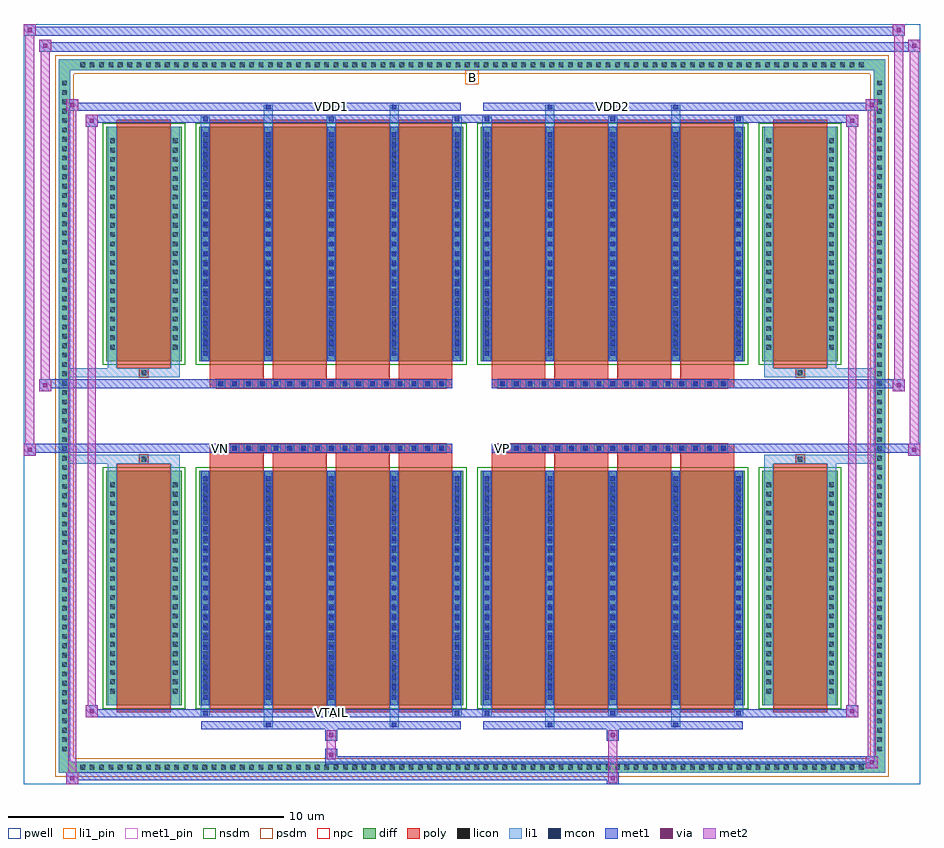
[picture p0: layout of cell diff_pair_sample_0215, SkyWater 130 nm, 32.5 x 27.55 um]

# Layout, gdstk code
import gdstk
lib = gdstk.Library(unit=1e-6, precision=5e-09)
def R(c, l, rs):  # rectangles x0, y0, x1, y1
    for r in rs: c.add(gdstk.rectangle(r[:2], r[2:], *l))
def A(c, l, x, y, w, h, nx, ny, dx, dy):  # array of equal rectangles
    R(c, l, [(x+i*dx, y+j*dy, x+i*dx+w, y+j*dy+h) for i in range(nx) for j in range(ny)])
def P(c, l, *ps):  # polygons
    for p in ps: c.add(gdstk.Polygon(p, *l))
pwell = (64, 44)
diff = (65, 20)
poly = (66, 20)
licon = (66, 44)
li1_pin = (67, 16)
li1 = (67, 20)
mcon = (67, 44)
met1_pin = (68, 16)
met1 = (68, 20)
via = (68, 44)
met2 = (69, 20)
nsdm = (93, 44)
psdm = (94, 20)
npc = (95, 20)

diff_pair_sample_0215 = lib.new_cell('diff_pair_sample_0215')
R(diff_pair_sample_0215, pwell, [(-16.25,-13.34,16.25,14.21), (-13.57,-11.53,-0.01,-0.805), (0.01,-11.53,13.57,-0.805), (-13.57,0.805,-0.01,11.53), (0.01,0.805,13.57,11.53)])
A(diff_pair_sample_0215, diff, -14.315, -12.94, 0.41, 0.41, 84, 2, 0.34, 25.47)
A(diff_pair_sample_0215, diff, -14.98, -12.275, 0.41, 0.41, 1, 72, 0, 0.34)
A(diff_pair_sample_0215, diff, 14.57, -12.275, 0.41, 0.41, 1, 72, 0, 0.34)
R(diff_pair_sample_0215, diff, [(-14.315,-12.94,14.315,-12.53), (-14.98,-12.275,-14.57,12.275), (14.57,-12.275,14.98,12.275), (-13.26,-10.485,-10.53,-1.985), (-9.89,-10.485,-0.32,-1.985), (0.32,-10.485,9.89,-1.985), (10.53,-10.485,13.26,-1.985), (-13.26,1.985,-10.53,10.485), (-9.89,1.985,-0.32,10.485), (0.32,1.985,9.89,10.485), (10.53,1.985,13.26,10.485), (-14.315,12.53,14.315,12.94)])
P(diff_pair_sample_0215, diff, [(14.98,12.94),(-14.98,12.94),(-14.98,-12.53),(-14.57,-12.53),(-14.57,12.53),(14.57,12.53),(14.57,-12.53),(-14.57,-12.53),(-14.98,-12.53),(-14.98,-12.94),(14.98,-12.94)])
A(diff_pair_sample_0215, poly, -9.5, -10.735, 1.95, 9, 4, 2, 2.28, 12.47)
A(diff_pair_sample_0215, poly, 0.71, -10.735, 1.95, 9, 4, 2, 2.28, 12.47)
A(diff_pair_sample_0215, poly, -9.5, -1.735, 1.95, 0.4, 4, 2, 2.28, 3.07)
A(diff_pair_sample_0215, poly, 0.71, -1.735, 1.95, 0.4, 4, 2, 2.28, 3.07)
A(diff_pair_sample_0215, poly, -9.27, -1.335, 0.33, 0.33, 17, 2, 0.5, 2.34)
A(diff_pair_sample_0215, poly, 0.94, -1.335, 0.33, 0.33, 17, 2, 0.5, 2.34)
R(diff_pair_sample_0215, poly, [(-12.87,-10.735,-10.92,-1.735), (10.92,-10.735,12.87,-1.735), (-12.06,-1.735,-11.73,-1.405), (-12.06,-1.735,-11.73,-1.405), (11.73,-1.735,12.06,-1.405), (11.73,-1.735,12.06,-1.405), (-9.5,-1.335,-0.71,-1.005), (0.71,-1.335,9.5,-1.005), (-9.5,1.005,-0.71,1.335), (0.71,1.005,9.5,1.335), (-12.06,1.405,-11.73,1.735), (-12.06,1.405,-11.73,1.735), (11.73,1.405,12.06,1.735), (11.73,1.405,12.06,1.735), (-12.87,1.735,-10.92,10.735), (10.92,1.735,12.87,10.735)])
A(diff_pair_sample_0215, licon, -14.195, -12.82, 0.17, 0.17, 84, 2, 0.34, 25.47)
A(diff_pair_sample_0215, licon, -14.86, -12.155, 0.17, 0.17, 1, 72, 0, 0.34)
A(diff_pair_sample_0215, licon, 14.69, -12.155, 0.17, 0.17, 1, 72, 0, 0.34)
A(diff_pair_sample_0215, licon, -13.12, -10.06, 0.17, 0.17, 1, 23, 0, 0.34)
A(diff_pair_sample_0215, licon, -10.84, -10.06, 0.17, 0.17, 1, 23, 0, 0.34)
A(diff_pair_sample_0215, licon, -9.75, -10.06, 0.17, 0.17, 5, 23, 2.28, 0.34)
A(diff_pair_sample_0215, licon, 0.46, -10.06, 0.17, 0.17, 5, 23, 2.28, 0.34)
A(diff_pair_sample_0215, licon, 10.67, -10.06, 0.17, 0.17, 1, 23, 0, 0.34)
A(diff_pair_sample_0215, licon, 12.95, -10.06, 0.17, 0.17, 1, 23, 0, 0.34)
A(diff_pair_sample_0215, licon, -9.19, -1.255, 0.17, 0.17, 17, 2, 0.5, 2.34)
A(diff_pair_sample_0215, licon, 1.02, -1.255, 0.17, 0.17, 17, 2, 0.5, 2.34)
A(diff_pair_sample_0215, licon, -13.12, 2.41, 0.17, 0.17, 1, 23, 0, 0.34)
A(diff_pair_sample_0215, licon, -10.84, 2.41, 0.17, 0.17, 1, 23, 0, 0.34)
A(diff_pair_sample_0215, licon, -9.75, 2.41, 0.17, 0.17, 5, 23, 2.28, 0.34)
A(diff_pair_sample_0215, licon, 0.46, 2.41, 0.17, 0.17, 5, 23, 2.28, 0.34)
A(diff_pair_sample_0215, licon, 10.67, 2.41, 0.17, 0.17, 1, 23, 0, 0.34)
A(diff_pair_sample_0215, licon, 12.95, 2.41, 0.17, 0.17, 1, 23, 0, 0.34)
R(diff_pair_sample_0215, licon, [(-11.98,-1.655,-11.81,-1.485), (11.81,-1.655,11.98,-1.485), (-11.98,1.485,-11.81,1.655), (11.81,1.485,11.98,1.655)])
R(diff_pair_sample_0215, li1_pin, [(-0.25,12.03,0.25,12.53)])
A(diff_pair_sample_0215, li1, -14.275, -12.9, 0.33, 0.33, 84, 2, 0.34, 25.47)
A(diff_pair_sample_0215, li1, -14.94, -12.235, 0.33, 0.33, 1, 72, 0, 0.34)
A(diff_pair_sample_0215, li1, 14.61, -12.235, 0.33, 0.33, 1, 72, 0, 0.34)
A(diff_pair_sample_0215, li1, -9.83, -10.86, 0.33, 0.375, 3, 2, 4.56, 21.345)
A(diff_pair_sample_0215, li1, -9.75, -10.86, 0.17, 0.17, 3, 2, 4.56, 21.55)
A(diff_pair_sample_0215, li1, 0.38, -10.86, 0.33, 0.375, 3, 2, 4.56, 21.345)
A(diff_pair_sample_0215, li1, 0.46, -10.86, 0.17, 0.17, 3, 2, 4.56, 21.55)
A(diff_pair_sample_0215, li1, -9.83, -10.485, 0.33, 8.5, 5, 2, 2.28, 12.47)
A(diff_pair_sample_0215, li1, 0.38, -10.485, 0.33, 8.5, 5, 2, 2.28, 12.47)
A(diff_pair_sample_0215, li1, -9.75, -10.28, 0.17, 0.17, 5, 23, 2.28, 0.36)
A(diff_pair_sample_0215, li1, -9.75, -10.28, 0.17, 8.09, 5, 2, 2.28, 12.47)
A(diff_pair_sample_0215, li1, 0.46, -10.28, 0.17, 0.17, 5, 23, 2.28, 0.36)
A(diff_pair_sample_0215, li1, 0.46, -10.28, 0.17, 8.09, 5, 2, 2.28, 12.47)
A(diff_pair_sample_0215, li1, -13.2, -10.14, 0.33, 0.33, 1, 23, 0, 0.34)
A(diff_pair_sample_0215, li1, -10.92, -10.14, 0.33, 0.33, 1, 23, 0, 0.34)
A(diff_pair_sample_0215, li1, -9.83, -10.14, 0.33, 0.33, 5, 23, 2.28, 0.34)
A(diff_pair_sample_0215, li1, 0.38, -10.14, 0.33, 0.33, 5, 23, 2.28, 0.34)
A(diff_pair_sample_0215, li1, 10.59, -10.14, 0.33, 0.33, 1, 23, 0, 0.34)
A(diff_pair_sample_0215, li1, 12.87, -10.14, 0.33, 0.33, 1, 23, 0, 0.34)
A(diff_pair_sample_0215, li1, -9.27, -1.335, 0.33, 0.33, 17, 2, 0.5, 2.34)
A(diff_pair_sample_0215, li1, 0.94, -1.335, 0.33, 0.33, 17, 2, 0.5, 2.34)
A(diff_pair_sample_0215, li1, -9.75, 2.19, 0.17, 0.17, 5, 23, 2.28, 0.36)
A(diff_pair_sample_0215, li1, 0.46, 2.19, 0.17, 0.17, 5, 23, 2.28, 0.36)
A(diff_pair_sample_0215, li1, -13.2, 2.33, 0.33, 0.33, 1, 23, 0, 0.34)
A(diff_pair_sample_0215, li1, -10.92, 2.33, 0.33, 0.33, 1, 23, 0, 0.34)
A(diff_pair_sample_0215, li1, -9.83, 2.33, 0.33, 0.33, 5, 23, 2.28, 0.34)
A(diff_pair_sample_0215, li1, 0.38, 2.33, 0.33, 0.33, 5, 23, 2.28, 0.34)
A(diff_pair_sample_0215, li1, 10.59, 2.33, 0.33, 0.33, 1, 23, 0, 0.34)
A(diff_pair_sample_0215, li1, 12.87, 2.33, 0.33, 0.33, 1, 23, 0, 0.34)
R(diff_pair_sample_0215, li1, [(-14.98,-12.94,-14.57,-12.53), (-14.98,-12.94,-14.57,-12.53), (-14.57,-12.94,14.57,-12.53), (14.57,-12.94,14.98,-12.53), (14.57,-12.94,14.98,-12.53), (-14.98,-12.53,-14.57,12.53), (14.57,-12.53,14.98,12.53), (-7.55,-11.29,-7.22,-10.485), (-7.47,-11.29,-7.3,-11.12), (-2.99,-11.29,-2.66,-10.485), (-2.91,-11.29,-2.74,-11.12), (2.66,-11.29,2.99,-10.485), (2.74,-11.29,2.91,-11.12), (7.22,-11.29,7.55,-10.485), (7.3,-11.29,7.47,-11.12), (-13.2,-10.485,-12.87,-1.985), (-10.92,-10.485,-10.59,-1.985), (10.59,-10.485,10.92,-1.985), (12.87,-10.485,13.2,-1.985), (-13.2,-1.985,-12.87,-1.405), (-10.92,-1.985,-10.59,-1.405), (10.59,-1.985,10.92,-1.405), (12.87,-1.985,13.2,-1.405), (-14.98,-1.735,-12.06,-1.405), (-13.2,-1.735,-12.06,-1.405), (-12.06,-1.735,-11.73,-1.405), (-11.73,-1.735,-10.59,-1.405), (10.59,-1.735,11.73,-1.405), (11.73,-1.735,12.06,-1.405), (11.73,-1.735,14.98,-1.405), (12.06,-1.735,13.2,-1.405), (-14.98,1.405,-12.06,1.735), (-13.2,1.405,-12.06,1.735), (-13.2,1.405,-12.87,1.985), (-12.06,1.405,-11.73,1.735), (-11.73,1.405,-10.59,1.735), (-10.92,1.405,-10.59,1.985), (10.59,1.405,11.73,1.735), (10.59,1.405,10.92,1.985), (11.73,1.405,12.06,1.735), (11.73,1.405,14.98,1.735), (12.06,1.405,13.2,1.735), (12.87,1.405,13.2,1.985), (-13.2,1.985,-12.87,10.485), (-10.92,1.985,-10.59,10.485), (10.59,1.985,10.92,10.485), (12.87,1.985,13.2,10.485), (-7.55,10.485,-7.22,11.29), (-2.99,10.485,-2.66,11.29), (2.66,10.485,2.99,11.29), (7.22,10.485,7.55,11.29), (-7.47,11.12,-7.3,11.29), (-2.91,11.12,-2.74,11.29), (2.74,11.12,2.91,11.29), (7.3,11.12,7.47,11.29), (-14.98,12.53,-14.57,12.94), (-14.98,12.53,-14.57,12.94), (-14.57,12.53,14.57,12.94), (14.57,12.53,14.98,12.94), (14.57,12.53,14.98,12.94)])
A(diff_pair_sample_0215, mcon, -9.75, -10.86, 0.17, 0.17, 3, 2, 4.56, 21.55)
A(diff_pair_sample_0215, mcon, 0.46, -10.86, 0.17, 0.17, 3, 2, 4.56, 21.55)
A(diff_pair_sample_0215, mcon, -9.75, -10.28, 0.17, 0.17, 5, 23, 2.28, 0.36)
A(diff_pair_sample_0215, mcon, 0.46, -10.28, 0.17, 0.17, 5, 23, 2.28, 0.36)
A(diff_pair_sample_0215, mcon, -9.19, -1.255, 0.17, 0.17, 17, 2, 0.5, 2.34)
A(diff_pair_sample_0215, mcon, 1.02, -1.255, 0.17, 0.17, 17, 2, 0.5, 2.34)
A(diff_pair_sample_0215, mcon, -9.75, 2.19, 0.17, 0.17, 5, 23, 2.28, 0.36)
A(diff_pair_sample_0215, mcon, 0.46, 2.19, 0.17, 0.17, 5, 23, 2.28, 0.36)
R(diff_pair_sample_0215, mcon, [(-7.47,-11.29,-7.3,-11.12), (-2.91,-11.29,-2.74,-11.12), (2.74,-11.29,2.91,-11.12), (7.3,-11.29,7.47,-11.12), (-7.47,11.12,-7.3,11.29), (-2.91,11.12,-2.74,11.29), (2.74,11.12,2.91,11.29), (7.3,11.12,7.47,11.29)])
R(diff_pair_sample_0215, met1_pin, [(-5.24,-10.9,-4.97,-10.63), (-9.24,-1.295,-8.97,-1.025), (0.97,-1.295,1.24,-1.025), (-5.24,11.08,-4.97,11.35), (4.97,11.08,5.24,11.35)])
A(diff_pair_sample_0215, met1, -9.81, -10.92, 0.29, 0.29, 3, 2, 4.56, 21.55)
A(diff_pair_sample_0215, met1, 0.4, -10.92, 0.29, 0.29, 3, 2, 4.56, 21.55)
A(diff_pair_sample_0215, met1, -9.81, -10.485, 0.29, 8.5, 5, 2, 2.28, 12.47)
A(diff_pair_sample_0215, met1, 0.4, -10.485, 0.29, 8.5, 5, 2, 2.28, 12.47)
A(diff_pair_sample_0215, met1, -9.81, -10.34, 0.29, 0.29, 5, 23, 2.28, 0.36)
A(diff_pair_sample_0215, met1, 0.4, -10.34, 0.29, 0.29, 5, 23, 2.28, 0.36)
A(diff_pair_sample_0215, met1, -9.25, -1.315, 0.29, 0.29, 17, 2, 0.5, 2.34)
A(diff_pair_sample_0215, met1, 0.96, -1.315, 0.29, 0.29, 17, 2, 0.5, 2.34)
A(diff_pair_sample_0215, met1, -9.81, 2.13, 0.29, 0.29, 5, 23, 2.28, 0.36)
A(diff_pair_sample_0215, met1, 0.4, 2.13, 0.29, 0.29, 5, 23, 2.28, 0.36)
R(diff_pair_sample_0215, met1, [(-14.71,-13.34,-14.28,-12.91), (4.89,-13.34,5.32,-12.91), (-14.71,-13.2,5.32,-12.91), (14.28,-12.77,14.71,-12.34), (-5.32,-12.63,14.71,-12.34), (-5.32,-12.49,-4.89,-12.06), (-5.32,-11.78,-4.89,-11.35), (4.89,-11.78,5.32,-11.35), (-9.81,-11.35,-0.4,-11.06), (-7.53,-11.35,-7.24,-11.06), (-2.97,-11.35,-2.68,-11.06), (0.4,-11.35,9.81,-11.06), (2.68,-11.35,2.97,-11.06), (7.24,-11.35,7.53,-11.06), (-14,-10.92,-13.57,-10.49), (-14,-10.92,-9.81,-10.63), (-9.81,-10.92,-0.4,-10.63), (-0.4,-10.92,0.4,-10.63), (0.4,-10.92,9.81,-10.63), (9.81,-10.92,14,-10.63), (13.57,-10.92,14,-10.49), (-16.25,-1.435,-15.82,-1.005), (15.82,-1.435,16.25,-1.005), (-16.25,-1.335,-0.71,-1.005), (-9.5,-1.335,-0.71,-1.005), (0.71,-1.335,9.5,-1.005), (0.71,-1.335,16.25,-1.005), (-15.68,0.905,-15.25,1.335), (15.25,0.905,15.68,1.335), (-15.68,1.005,-9.5,1.335), (-9.5,1.005,-0.71,1.335), (0.71,1.005,9.5,1.335), (9.5,1.005,15.68,1.335), (-14,10.49,-13.57,10.92), (13.57,10.49,14,10.92), (-14,10.63,-9.81,10.92), (-9.81,10.63,-0.4,10.92), (-0.4,10.63,0.4,10.92), (0.4,10.63,9.81,10.92), (9.81,10.63,14,10.92), (-14.71,11.06,-14.28,11.49), (-14.71,11.06,-9.81,11.35), (-9.81,11.06,-0.4,11.35), (-7.53,11.06,-7.24,11.35), (-2.97,11.06,-2.68,11.35), (0.4,11.06,9.81,11.35), (2.68,11.06,2.97,11.35), (7.24,11.06,7.53,11.35), (9.81,11.06,14.71,11.35), (14.28,11.06,14.71,11.49), (-15.68,13.21,-15.25,13.64), (-15.68,13.21,-13.57,13.54), (-13.57,13.21,13.57,13.54), (13.57,13.21,16.25,13.54), (15.82,13.21,16.25,13.64), (-16.25,13.78,-15.82,14.21), (-16.25,13.78,-13.57,14.11), (-13.57,13.78,13.57,14.11), (13.57,13.78,15.68,14.11), (15.25,13.78,15.68,14.21)])
R(diff_pair_sample_0215, via, [(-14.57,-13.2,-14.42,-13.05), (5.03,-13.2,5.18,-13.05), (14.42,-12.63,14.57,-12.48), (-5.18,-12.35,-5.03,-12.2), (-5.18,-11.64,-5.03,-11.49), (5.03,-11.64,5.18,-11.49), (-13.86,-10.78,-13.71,-10.63), (13.71,-10.78,13.86,-10.63), (-16.11,-1.295,-15.96,-1.145), (15.96,-1.295,16.11,-1.145), (-15.54,1.045,-15.39,1.195), (15.39,1.045,15.54,1.195), (-13.86,10.63,-13.71,10.78), (13.71,10.63,13.86,10.78), (-14.57,11.2,-14.42,11.35), (14.42,11.2,14.57,11.35), (-15.54,13.35,-15.39,13.5), (15.96,13.35,16.11,13.5), (-16.11,13.92,-15.96,14.07), (15.39,13.92,15.54,14.07)])
R(diff_pair_sample_0215, met2, [(-14.71,-13.34,-14.28,-12.91), (-14.64,-13.34,-14.35,11.49), (-14.35,-13.34,-14.28,-12.91), (-14.66,-13.29,-14.33,-12.96), (4.94,-13.29,5.27,-12.96), (4.94,-12.96,5.27,-11.73), (14.28,-12.77,14.71,-12.34), (14.35,-12.77,14.64,11.49), (14.64,-12.77,14.71,-12.34), (14.33,-12.72,14.66,-12.39), (-5.27,-12.44,-4.94,-12.11), (-5.27,-12.11,-4.94,-11.73), (-5.27,-11.73,-4.94,-11.4), (4.94,-11.73,5.27,-11.4), (-14,-10.92,-13.57,-10.49), (-13.93,-10.92,-13.64,10.92), (-13.64,-10.92,-13.57,-10.49), (13.57,-10.92,14,-10.49), (13.64,-10.92,13.93,10.92), (13.93,-10.92,14,-10.49), (-13.95,-10.87,-13.62,-10.54), (13.62,-10.87,13.95,-10.54), (-16.25,-1.435,-15.82,-1.005), (-16.2,-1.435,-15.87,14.21), (-15.87,-1.435,-15.82,-1.005), (15.82,-1.435,16.25,-1.005), (15.87,-1.435,16.2,13.64), (16.2,-1.435,16.25,-1.005), (-16.2,-1.385,-15.87,-1.055), (15.87,-1.385,16.2,-1.055), (-15.68,0.905,-15.25,1.335), (-15.63,0.905,-15.3,13.64), (-15.3,0.905,-15.25,1.335), (15.25,0.905,15.68,1.335), (15.3,0.905,15.63,14.21), (15.63,0.905,15.68,1.335), (-15.63,0.955,-15.3,1.285), (15.3,0.955,15.63,1.285), (-14,10.49,-13.57,10.92), (-13.64,10.49,-13.57,10.92), (13.57,10.49,14,10.92), (13.93,10.49,14,10.92), (-13.95,10.54,-13.62,10.87), (13.62,10.54,13.95,10.87), (-14.71,11.06,-14.28,11.49), (-14.35,11.06,-14.28,11.49), (14.28,11.06,14.71,11.49), (14.64,11.06,14.71,11.49), (-14.66,11.11,-14.33,11.44), (14.33,11.11,14.66,11.44), (-15.68,13.21,-15.25,13.64), (-15.3,13.21,-15.25,13.64), (15.82,13.21,16.25,13.64), (16.2,13.21,16.25,13.64), (-15.63,13.26,-15.3,13.59), (15.87,13.26,16.2,13.59), (-16.25,13.78,-15.82,14.21), (-15.87,13.78,-15.82,14.21), (15.25,13.78,15.68,14.21), (15.63,13.78,15.68,14.21), (-16.2,13.83,-15.87,14.16), (15.3,13.83,15.63,14.16)])
R(diff_pair_sample_0215, nsdm, [(-13.39,-10.615,-10.4,-1.855), (-10.02,-10.615,-0.19,-1.855), (0.19,-10.615,10.02,-1.855), (10.4,-10.615,13.39,-1.855), (-13.39,1.855,-10.4,10.615), (-10.02,1.855,-0.19,10.615), (0.19,1.855,10.02,10.615), (10.4,1.855,13.39,10.615)])
P(diff_pair_sample_0215, psdm, [(15.11,13.07),(-15.11,13.07),(-15.11,-12.4),(-14.44,-12.4),(-14.44,12.4),(14.44,12.4),(14.44,-12.4),(-14.44,-12.4),(-15.11,-12.4),(-15.11,-13.07),(15.11,-13.07)])
A(diff_pair_sample_0215, npc, -9.29, -1.355, 0.37, 0.37, 17, 2, 0.5, 2.34)
A(diff_pair_sample_0215, npc, 0.92, -1.355, 0.37, 0.37, 17, 2, 0.5, 2.34)
R(diff_pair_sample_0215, npc, [(-12.08,-1.755,-11.71,-1.385), (11.71,-1.755,12.08,-1.385), (-9.29,-1.355,-8.42,-0.985), (-9.29,-1.355,-8.42,-0.985), (-8.79,-1.355,-7.92,-0.985), (-8.79,-1.355,-7.92,-0.985), (-8.29,-1.355,-7.42,-0.985), (-8.29,-1.355,-7.42,-0.985), (-7.79,-1.355,-6.92,-0.985), (-7.79,-1.355,-6.92,-0.985), (-7.29,-1.355,-6.42,-0.985), (-7.29,-1.355,-6.42,-0.985), (-6.79,-1.355,-5.92,-0.985), (-6.79,-1.355,-5.92,-0.985), (-6.29,-1.355,-5.42,-0.985), (-6.29,-1.355,-5.42,-0.985), (-5.79,-1.355,-4.92,-0.985), (-5.79,-1.355,-4.92,-0.985), (-5.29,-1.355,-4.42,-0.985), (-5.29,-1.355,-4.42,-0.985), (-4.79,-1.355,-3.92,-0.985), (-4.79,-1.355,-3.92,-0.985), (-4.29,-1.355,-3.42,-0.985), (-4.29,-1.355,-3.42,-0.985), (-3.79,-1.355,-2.92,-0.985), (-3.79,-1.355,-2.92,-0.985), (-3.29,-1.355,-2.42,-0.985), (-3.29,-1.355,-2.42,-0.985), (-2.79,-1.355,-1.92,-0.985), (-2.79,-1.355,-1.92,-0.985), (-2.29,-1.355,-1.42,-0.985), (-2.29,-1.355,-1.42,-0.985), (-1.79,-1.355,-0.92,-0.985), (-1.79,-1.355,-0.92,-0.985), (0.92,-1.355,1.79,-0.985), (0.92,-1.355,1.79,-0.985), (1.42,-1.355,2.29,-0.985), (1.42,-1.355,2.29,-0.985), (1.92,-1.355,2.79,-0.985), (1.92,-1.355,2.79,-0.985), (2.42,-1.355,3.29,-0.985), (2.42,-1.355,3.29,-0.985), (2.92,-1.355,3.79,-0.985), (2.92,-1.355,3.79,-0.985), (3.42,-1.355,4.29,-0.985), (3.42,-1.355,4.29,-0.985), (3.92,-1.355,4.79,-0.985), (3.92,-1.355,4.79,-0.985), (4.42,-1.355,5.29,-0.985), (4.42,-1.355,5.29,-0.985), (4.92,-1.355,5.79,-0.985), (4.92,-1.355,5.79,-0.985), (5.42,-1.355,6.29,-0.985), (5.42,-1.355,6.29,-0.985), (5.92,-1.355,6.79,-0.985), (5.92,-1.355,6.79,-0.985), (6.42,-1.355,7.29,-0.985), (6.42,-1.355,7.29,-0.985), (6.92,-1.355,7.79,-0.985), (6.92,-1.355,7.79,-0.985), (7.42,-1.355,8.29,-0.985), (7.42,-1.355,8.29,-0.985), (7.92,-1.355,8.79,-0.985), (7.92,-1.355,8.79,-0.985), (8.42,-1.355,9.29,-0.985), (8.42,-1.355,9.29,-0.985), (-9.29,0.985,-8.42,1.355), (-9.29,0.985,-8.42,1.355), (-8.79,0.985,-7.92,1.355), (-8.79,0.985,-7.92,1.355), (-8.29,0.985,-7.42,1.355), (-8.29,0.985,-7.42,1.355), (-7.79,0.985,-6.92,1.355), (-7.79,0.985,-6.92,1.355), (-7.29,0.985,-6.42,1.355), (-7.29,0.985,-6.42,1.355), (-6.79,0.985,-5.92,1.355), (-6.79,0.985,-5.92,1.355), (-6.29,0.985,-5.42,1.355), (-6.29,0.985,-5.42,1.355), (-5.79,0.985,-4.92,1.355), (-5.79,0.985,-4.92,1.355), (-5.29,0.985,-4.42,1.355), (-5.29,0.985,-4.42,1.355), (-4.79,0.985,-3.92,1.355), (-4.79,0.985,-3.92,1.355), (-4.29,0.985,-3.42,1.355), (-4.29,0.985,-3.42,1.355), (-3.79,0.985,-2.92,1.355), (-3.79,0.985,-2.92,1.355), (-3.29,0.985,-2.42,1.355), (-3.29,0.985,-2.42,1.355), (-2.79,0.985,-1.92,1.355), (-2.79,0.985,-1.92,1.355), (-2.29,0.985,-1.42,1.355), (-2.29,0.985,-1.42,1.355), (-1.79,0.985,-0.92,1.355), (-1.79,0.985,-0.92,1.355), (0.92,0.985,1.79,1.355), (0.92,0.985,1.79,1.355), (1.42,0.985,2.29,1.355), (1.42,0.985,2.29,1.355), (1.92,0.985,2.79,1.355), (1.92,0.985,2.79,1.355), (2.42,0.985,3.29,1.355), (2.42,0.985,3.29,1.355), (2.92,0.985,3.79,1.355), (2.92,0.985,3.79,1.355), (3.42,0.985,4.29,1.355), (3.42,0.985,4.29,1.355), (3.92,0.985,4.79,1.355), (3.92,0.985,4.79,1.355), (4.42,0.985,5.29,1.355), (4.42,0.985,5.29,1.355), (4.92,0.985,5.79,1.355), (4.92,0.985,5.79,1.355), (5.42,0.985,6.29,1.355), (5.42,0.985,6.29,1.355), (5.92,0.985,6.79,1.355), (5.92,0.985,6.79,1.355), (6.42,0.985,7.29,1.355), (6.42,0.985,7.29,1.355), (6.92,0.985,7.79,1.355), (6.92,0.985,7.79,1.355), (7.42,0.985,8.29,1.355), (7.42,0.985,8.29,1.355), (7.92,0.985,8.79,1.355), (7.92,0.985,8.79,1.355), (8.42,0.985,9.29,1.355), (8.42,0.985,9.29,1.355), (-12.08,1.385,-11.71,1.755), (11.71,1.385,12.08,1.755)])
diff_pair_sample_0215.add(gdstk.Label('VTAIL', (-5.105,-10.765), layer=68, texttype=5))
diff_pair_sample_0215.add(gdstk.Label('VN', (-9.105,-1.16), layer=68, texttype=5))
diff_pair_sample_0215.add(gdstk.Label('VP', (1.105,-1.16), layer=68, texttype=5))
diff_pair_sample_0215.add(gdstk.Label('B', (0,12.28), layer=67, texttype=5))
diff_pair_sample_0215.add(gdstk.Label('VDD2', (5.105,11.215), layer=68, texttype=5))
diff_pair_sample_0215.add(gdstk.Label('VDD1', (-5.105,11.215), layer=68, texttype=5))

lib.write_gds('diff_pair_sample_0215.gds')
